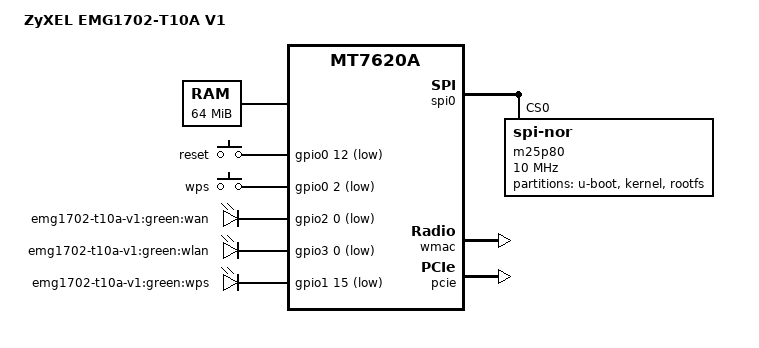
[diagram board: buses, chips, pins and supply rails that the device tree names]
/dts-v1/;

#include "mt7620a.dtsi"

#include <dt-bindings/gpio/gpio.h>
#include <dt-bindings/input/input.h>

/ {
	compatible = "zyxel,emg1702-t10a-v1", "ralink,mt7620a-soc";
	model = "ZyXEL EMG1702-T10A V1";

  chosen {
	bootargs = "console=ttyS0,115200";
  };

  memory@0 {
		device_type = "memory";
		reg = <0x0 0x4000000>;
	};

	gpio-keys-polled {
		compatible = "gpio-keys-polled";
		#address-cells = <1>;
		#size-cells = <0>;
		poll-interval = <20>;

		reset {
			label = "reset";
			gpios = <&gpio0 12 GPIO_ACTIVE_LOW>;
			linux,code = <KEY_RESTART>;
		};

		wps {
			label = "wps";
			gpios = <&gpio0 2 GPIO_ACTIVE_LOW>;
			linux,code = <KEY_WPS_BUTTON>;
		};
	};

	gpio-leds {
		compatible = "gpio-leds";

		wan {
			label = "emg1702-t10a-v1:green:wan";
			gpios = <&gpio2 0 GPIO_ACTIVE_LOW>;
		};

		wlan {
			label = "emg1702-t10a-v1:green:wlan";
			gpios = <&gpio3 0 GPIO_ACTIVE_LOW>;
		};

		wps {
			label = "emg1702-t10a-v1:green:wps";
			gpios = <&gpio1 15 GPIO_ACTIVE_LOW>;
		};
	};
};

&gpio0 {
	status = "okay";
};
&gpio1 {
	status = "okay";
};
&gpio2 {
	status = "okay";
};
&gpio3 {
	status = "okay";
};

&spi0 {
	status = "okay";

	m25p80@0 {
		#address-cells = <1>;
		#size-cells = <1>;
		compatible = "jedec,spi-nor";
		reg = <0>;
		spi-max-frequency = <10000000>;

		uboot: partition@0 {
			label = "u-boot";
			reg = <0x0 0x30000>;
			read-only;
		};

		partition@30000 {
			label = "kernel";
			reg = <0x30000 0x1d0000>;
		};

		partition@200000 {
			label = "rootfs";
			reg = <0x200000 0x600000>;
		};

		partition {
			label = "firmware";
			reg = <0x30000 0x7d0000>;
		};
	};
};

&pinctrl {
	state_default: pinctrl0 {
		gpio {
			ralink,group = "i2c", "uartf", "wled", "ephy", "spi refclk";
			ralink,function = "gpio";
		};
	};
};

&ethernet {
	mtd-mac-address = <&uboot 0x10458>;
	pinctrl-names = "default";
	mediatek,portmap = "llllw";
};

&wmac {
	mtd-mac-address-increment = <(-2)>;
};

&gsw {
	mediatek,port4 = "ephy";
};

&pcie {
	status = "okay";
};


